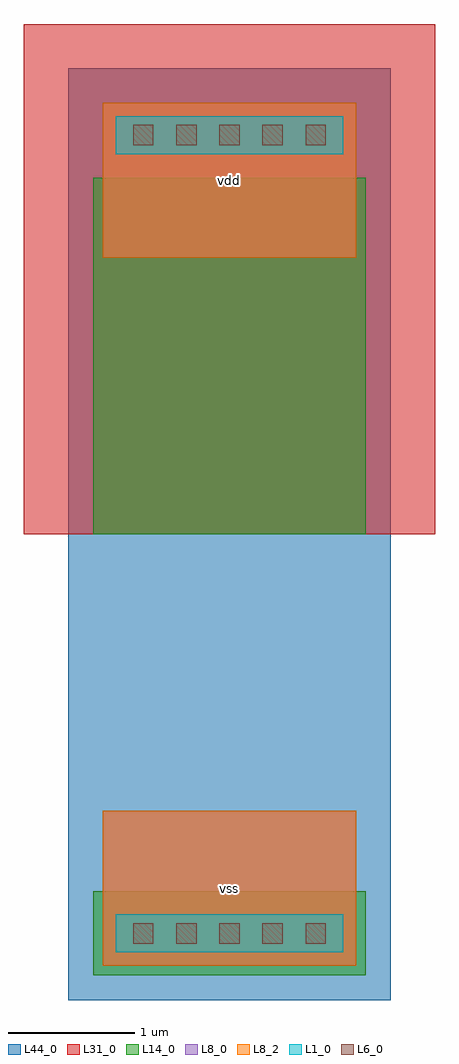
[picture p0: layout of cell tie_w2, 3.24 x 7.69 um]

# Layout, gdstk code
import gdstk
lib = gdstk.Library(unit=1e-6, precision=1e-09)
def R(c, l, rs):  # rectangles x0, y0, x1, y1
    for r in rs: c.add(gdstk.rectangle(r[:2], r[2:], *l))
def A(c, l, x, y, w, h, nx, ny, dx, dy):  # array of equal rectangles
    R(c, l, [(x+i*dx, y+j*dy, x+i*dx+w, y+j*dy+h) for i in range(nx) for j in range(ny)])
L1_0 = (1, 0)
L6_0 = (6, 0)
L8_0 = (8, 0)
L8_2 = (8, 2)
L14_0 = (14, 0)
L31_0 = (31, 0)
L44_0 = (44, 0)

tie_w2 = lib.new_cell('tie_w2')
R(tie_w2, L1_0, [(0.105,0.105,1.895,0.405), (0.105,6.395,1.895,6.695)])
A(tie_w2, L6_0, 0.24, 0.175, 0.16, 0.16, 5, 2, 0.34, 6.29)
R(tie_w2, L8_0, [(0,0,2,1.22), (0,5.58,2,6.8)])
R(tie_w2, L8_2, [(0,0,2,1.22), (0,5.58,2,6.8)])
R(tie_w2, L14_0, [(-0.075,-0.075,2.075,0.585), (-0.075,3.4,2.075,6.21)])
R(tie_w2, L31_0, [(-0.62,3.4,2.62,7.42)])
R(tie_w2, L44_0, [(-0.27,-0.27,2.27,7.07)])
tie_w2.add(gdstk.Label('vdd', (1,6.19), layer=8, texttype=2))
tie_w2.add(gdstk.Label('vss', (1,0.61), layer=8, texttype=2))

lib.write_gds('tie_w2.gds')
